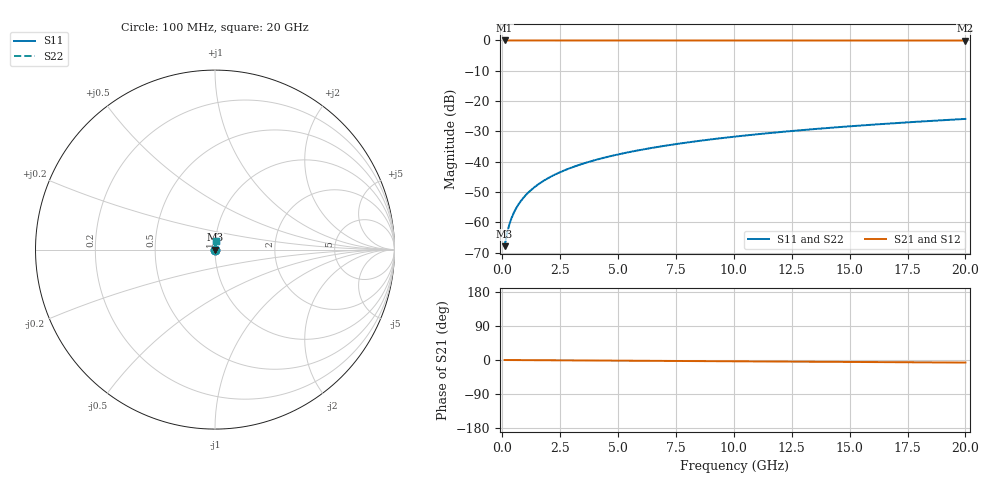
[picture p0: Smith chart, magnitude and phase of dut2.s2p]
! Touchstone file exported from HFSS 2026.1.0
!  File:  C:/ffzhzh/LocalFiles/Ansys_Project_Files/temp_val_TSV_2_1782974712_45308.aedt
!  Generated:  02:47:14 PM Jul  2, 2026
!  Design:  TSV
!  Project:  temp_val_TSV_2_1782974712_45308
! Variables:
!  h_bsmrdl = 2um
!  h_ox = 20um
!  h_rdl = 5um
!  h_sub = 57.95um
!  h_tmrdl = 5um
!  h_tsv = 57.95um
!  h_via = 3um
!  l_bsmrdl = 300um
!  l_sub = 410.34um
!  l_tmrdl = 200um
!  m_sub = 200um
!  pitch = 39.16um
!  r_tsv = 5.17um
!  s_tmrdl = 10um
!  w_bsmrdl = 18um
!  w_sub = 500um
!  w_tmrdl = 12um
!  x_tsv_center1 = 206um
!  x_tsv_center2 = 524um
!  x_tsv_center3 = 736um
!  x_tsv_center4 = 1054um
!  x_tsv_center5 = 1266um
!  x_tsv_center6 = 1584um
# GHz S MA R 50.000000
! Terminal data exported
! Port[1] = TSV1_1_T1
! Port[2] = TSV1_1_T2
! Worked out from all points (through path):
!   200 points, 100 MHz to 20 GHz, reference 50 ohm
!   highest |S21| = 0.00 dB at 100 MHz (marker M1); lowest = 0.0 dB at 20 GHz (marker M2)
!   lowest |S11| = -67.8 dB at 100 MHz (marker M3), VSWR 1.00, Z = 50 + j0.029 ohm
!   |S11| at or under -10 dB: start of sweep to end of sweep
!   |S22| runs from -67.8 to -25.9 dB; largest |S21 - S12| = 3.2e-15
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0.1  0.0004051 45.6  0.9997 -0.0  0.9997 -0.0  0.0004051 45.6
! Gamma 0 0 0 0
! Port Impedance 50 0 50 0
0.2  0.0006465 63.0  0.9997 -0.1  0.9997 -0.1  0.0006465 63.0
0.3  0.0009112 70.2  0.9997 -0.1  0.9997 -0.1  0.0009112 70.2
0.4  0.00118 74.0  0.9997 -0.1  0.9997 -0.1  0.00118 74.0
0.5  0.001448 76.4  0.9997 -0.2  0.9997 -0.2  0.001448 76.4
0.7  0.00198 79.2  0.9996 -0.2  0.9996 -0.2  0.00198 79.2
0.8  0.002245 80.1  0.9996 -0.3  0.9996 -0.3  0.002245 80.1
1  0.002775 81.5  0.9996 -0.4  0.9996 -0.4  0.002775 81.5
1.2  0.003303 82.4  0.9996 -0.4  0.9996 -0.4  0.003303 82.4
1.4  0.003832 83.0  0.9996 -0.5  0.9996 -0.5  0.003832 83.0
1.7  0.004625 83.7  0.9995 -0.6  0.9995 -0.6  0.004625 83.7
2  0.005416 84.1  0.9995 -0.7  0.9995 -0.7  0.005416 84.1
2.7  0.007254 84.7  0.9994 -0.9  0.9994 -0.9  0.007254 84.7
3.5  0.009337 84.9  0.9993 -1.2  0.9993 -1.2  0.009337 84.9
4.2  0.01114 84.9  0.9992 -1.5  0.9992 -1.5  0.01114 84.9
5  0.0132 84.9  0.9991 -1.7  0.9991 -1.7  0.0132 84.9
6.8  0.01777 84.7  0.9989 -2.3  0.9989 -2.3  0.01777 84.7
8.3  0.02156 84.4  0.9987 -2.9  0.9987 -2.9  0.02156 84.4
10.1  0.02609 84.1  0.9985 -3.5  0.9985 -3.5  0.02609 84.1
13.4  0.03438 83.3  0.9981 -4.6  0.9981 -4.6  0.03438 83.3
16.7  0.04262 82.4  0.9977 -5.7  0.9977 -5.7  0.04262 82.4
20  0.05081 81.4  0.9971 -6.8  0.9971 -6.8  0.05081 81.4
